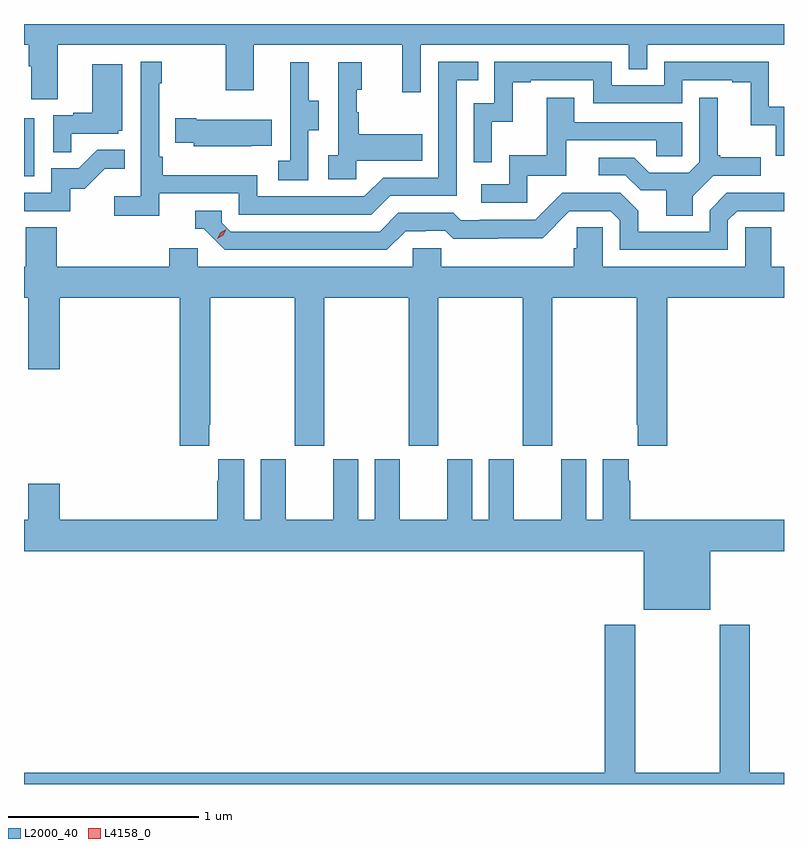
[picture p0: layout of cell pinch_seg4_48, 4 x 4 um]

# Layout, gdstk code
import gdstk
lib = gdstk.Library(unit=1e-6, precision=1e-09)
def R(c, l, rs):  # rectangles x0, y0, x1, y1
    for r in rs: c.add(gdstk.rectangle(r[:2], r[2:], *l))
def P(c, l, *ps):  # polygons
    for p in ps: c.add(gdstk.Polygon(p, *l))
L2000_40 = (2000, 40)
L4158_0 = (4158, 0)

pinch_seg4_48 = lib.new_cell('pinch_seg4_48')
R(pinch_seg4_48, L2000_40, [(1136.013,821.436,1136.068,821.743)])
P(pinch_seg4_48, L2000_40, [(1136.191,822.128),(1137.076,822.128),(1137.076,821.889),(1137.223,821.889),(1137.223,822.128),(1138.004,822.128),(1138.004,821.88),(1138.101,821.88),(1138.101,822.128),(1139.196,822.128),(1139.196,822.001),(1139.292,822.001),(1139.292,822.128),(1140.013,822.128),(1140.013,822.238),(1136.013,822.238),(1136.013,822.128),(1136.039,822.128),(1136.039,822.016),(1136.051,822.016),(1136.051,821.842),(1136.191,821.842)],
  [(1136.726,821.346),(1137.144,821.346),(1137.144,821.235),(1137.841,821.235),(1137.94,821.334),(1138.29,821.334),(1138.29,821.943),(1138.403,821.943),(1138.403,822.039),(1138.194,822.039),(1138.194,821.43),(1137.903,821.43),(1137.804,821.331),(1137.24,821.331),(1137.24,821.443),(1136.744,821.443),(1136.744,821.539),(1136.724,821.539),(1136.724,821.927),(1136.737,821.927),(1136.737,822.04),(1136.628,822.04),(1136.628,821.332),(1136.487,821.332),(1136.487,821.23),(1136.726,821.23)],
  [(1138.476,821.723),(1138.586,821.723),(1138.586,821.931),(1138.681,821.931),(1138.681,821.943),(1139.01,821.943),(1139.01,821.82),(1139.478,821.82),(1139.478,821.943),(1139.741,821.943),(1139.741,821.931),(1139.837,821.931),(1139.837,821.705),(1139.97,821.705),(1139.97,821.544),(1140.013,821.544),(1140.013,821.803),(1139.934,821.803),(1139.934,822.039),(1139.382,822.039),(1139.382,821.916),(1139.106,821.916),(1139.106,822.039),(1138.488,822.039),(1138.488,821.82),(1138.38,821.82),(1138.38,821.511),(1138.476,821.511)],
  [(1137.762,821.519),(1138.109,821.519),(1138.109,821.659),(1137.775,821.659),(1137.775,821.774),(1137.765,821.774),(1137.765,821.892),(1137.79,821.892),(1137.79,822.037),(1137.666,822.037),(1137.666,821.546),(1137.615,821.546),(1137.615,821.421),(1137.762,821.421)],
  [(1137.51,821.68),(1137.565,821.68),(1137.565,821.835),(1137.511,821.835),(1137.511,822.037),(1137.413,822.037),(1137.413,821.823),(1137.414,821.823),(1137.414,821.519),(1137.351,821.519),(1137.351,821.416),(1137.51,821.416)],
  [(1136.261,821.661),(1136.508,821.661),(1136.508,821.676),(1136.53,821.676),(1136.53,822.025),(1136.372,822.025),(1136.372,821.77),(1136.273,821.77),(1136.273,821.757),(1136.166,821.757),(1136.166,821.563),(1136.261,821.563)],
  [(1138.662,821.439),(1138.867,821.439),(1138.867,821.625),(1139.341,821.625),(1139.341,821.541),(1139.478,821.541),(1139.478,821.721),(1138.909,821.721),(1138.909,821.851),(1138.765,821.851),(1138.765,821.548),(1138.566,821.548),(1138.566,821.394),(1138.419,821.394),(1138.419,821.298),(1138.662,821.298)],
  [(1139.533,821.332),(1139.64,821.439),(1139.89,821.439),(1139.89,821.536),(1139.677,821.536),(1139.677,821.548),(1139.665,821.548),(1139.665,821.851),(1139.568,821.851),(1139.568,821.511),(1139.511,821.454),(1139.305,821.454),(1139.224,821.535),(1139.037,821.535),(1139.037,821.442),(1139.178,821.442),(1139.258,821.362),(1139.393,821.362),(1139.393,821.23),(1139.533,821.23)],
  [(1137.209,821.597),(1137.317,821.597),(1137.317,821.734),(1136.92,821.734),(1136.92,821.742),(1136.809,821.742),(1136.809,821.612),(1136.907,821.612),(1136.907,821.594),(1137.209,821.594)],
  [(1136.256,821.37),(1136.332,821.37),(1136.439,821.477),(1136.543,821.477),(1136.543,821.576),(1136.399,821.576),(1136.301,821.478),(1136.157,821.478),(1136.157,821.349),(1136.013,821.349),(1136.013,821.253),(1136.256,821.253)],
  [(1138.021,821.148),(1138.128,821.148),(1138.128,821.151),(1138.231,821.151),(1138.273,821.109),(1138.506,821.109),(1138.506,821.111),(1138.742,821.111),(1138.884,821.253),(1139.1,821.253),(1139.148,821.205),(1139.148,821.049),(1139.718,821.049),(1139.718,821.205),(1139.766,821.253),(1140.013,821.253),(1140.013,821.351),(1139.928,821.351),(1139.928,821.349),(1139.712,821.349),(1139.622,821.259),(1139.622,821.145),(1139.245,821.145),(1139.245,821.255),(1139.151,821.349),(1138.845,821.349),(1138.704,821.208),(1138.411,821.208),(1138.411,821.205),(1138.312,821.205),(1138.273,821.244),(1137.984,821.244),(1137.885,821.145),(1137.102,821.145),(1137.054,821.193),(1137.054,821.256),(1136.915,821.256),(1136.915,821.16),(1136.958,821.16),(1137.069,821.049),(1137.922,821.049)],
  [(1136.989,820.129),(1136.994,820.129),(1136.994,820.796),(1137.439,820.796),(1137.439,820.017),(1137.594,820.017),(1137.594,820.796),(1138.039,820.796),(1138.039,820.017),(1138.194,820.017),(1138.194,820.796),(1138.639,820.796),(1138.639,820.017),(1138.794,820.017),(1138.794,820.796),(1139.239,820.796),(1139.239,820.129),(1139.243,820.129),(1139.243,820.017),(1139.399,820.017),(1139.399,820.796),(1140.013,820.796),(1140.013,820.96),(1139.947,820.96),(1139.947,821.168),(1139.808,821.168),(1139.808,820.96),(1139.058,820.96),(1139.058,821.168),(1138.921,821.168),(1138.921,821.058),(1138.907,821.058),(1138.907,820.96),(1138.209,820.96),(1138.209,821.058),(1138.059,821.058),(1138.059,820.96),(1136.928,820.96),(1136.928,821.058),(1136.777,821.058),(1136.777,820.96),(1136.186,820.96),(1136.186,821.168),(1136.021,821.168),(1136.021,820.96),(1136.013,820.96),(1136.013,820.796),(1136.036,820.796),(1136.036,820.422),(1136.2,820.422),(1136.2,820.796),(1136.834,820.796),(1136.834,820.017),(1136.989,820.017)],
  [(1139.626,819.464),(1140.013,819.464),(1140.013,819.628),(1139.204,819.628),(1139.204,819.833),(1139.197,819.833),(1139.197,819.946),(1139.06,819.946),(1139.06,819.628),(1138.972,819.628),(1138.972,819.946),(1138.841,819.946),(1138.841,819.628),(1138.591,819.628),(1138.591,819.946),(1138.46,819.946),(1138.46,819.628),(1138.372,819.628),(1138.372,819.946),(1138.241,819.946),(1138.241,819.628),(1137.991,819.628),(1137.991,819.946),(1137.86,819.946),(1137.86,819.628),(1137.772,819.628),(1137.772,819.946),(1137.641,819.946),(1137.641,819.628),(1137.391,819.628),(1137.391,819.946),(1137.26,819.946),(1137.26,819.628),(1137.172,819.628),(1137.172,819.946),(1137.035,819.946),(1137.035,819.833),(1137.029,819.833),(1137.029,819.628),(1136.2,819.628),(1136.2,819.817),(1136.036,819.817),(1136.036,819.628),(1136.013,819.628),(1136.013,819.464),(1139.276,819.464),(1139.276,819.155),(1139.626,819.155)],
  [(1140.013,818.296),(1139.834,818.296),(1139.834,819.076),(1139.674,819.076),(1139.674,818.296),(1139.229,818.296),(1139.229,819.076),(1139.069,819.076),(1139.069,818.296),(1136.013,818.296),(1136.013,818.238),(1140.013,818.238)])
P(pinch_seg4_48, L4158_0, [(1137.03,821.108),(1137.03,821.108),(1137.046,821.14),(1137.078,821.159),(1137.078,821.159),(1137.078,821.159),(1137.061,821.127),(1137.03,821.108)])

lib.write_gds('pinch_seg4_48.gds')
